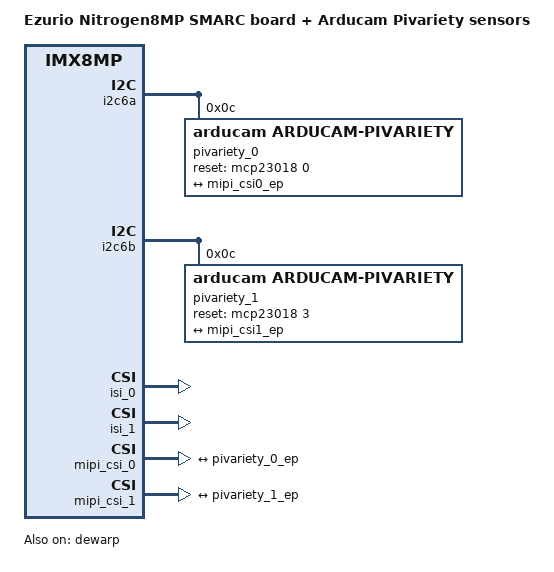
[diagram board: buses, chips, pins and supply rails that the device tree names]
// SPDX-License-Identifier: (GPL-2.0+ OR MIT)
/*
 * Copyright 2025 Ezurio LLC
 */

#include "imx8mp-nitrogen_smarc.dts"

/ {
	model = "Ezurio Nitrogen8MP SMARC board + Arducam Pivariety sensors";
	compatible = "ezurio,imx8mp-nitrogen_smarc-pivariety", "fsl,imx8mp";
};

&dewarp {
	status = "okay";
};

&i2c6a {
	/delete-node/ camera@10;

	pivariety_0: camera@c {
		compatible = "arducam,arducam-pivariety";
		reg = <0x0c>;
		clocks = <&csi_mclk>;
		clock-names = "xclk";
		reset-gpios = <&mcp23018 0 GPIO_ACTIVE_HIGH>;
		status = "okay";

		port {
			pivariety_0_ep: endpoint {
				remote-endpoint = <&mipi_csi0_ep>;
				clock-lanes = <0>;
				data-lanes = <1 2 3 4>;
			};
		};
	};
};


&i2c6b {
	/delete-node/ camera@10;

	pivariety_1: camera@c {
		compatible = "arducam,arducam-pivariety";
		reg = <0x0c>;
		clocks = <&csi_mclk>;
		clock-names = "xclk";
		reset-gpios = <&mcp23018 3 GPIO_ACTIVE_HIGH>;
		status = "okay";

		port {
			pivariety_1_ep: endpoint {
				remote-endpoint = <&mipi_csi1_ep>;
				clock-lanes = <0>;
				data-lanes = <1 2 3 4>;
				clock-noncontinuous;
				link-frequencies = /bits/ 64 <493500000>;
			};
		};
	};
};

&isi_0 {
	status = "okay";

	cap_device {
		status = "okay";
	};

	m2m_device {
		status = "okay";
	};
};

&isi_1 {
	status = "okay";

	cap_device {
		status = "okay";
	};
};

&isp_0 {
	status = "disabled";
};

&isp_1 {
	status = "disabled";
};

&mipi_csi_0 {
	#address-cells = <1>;
	#size-cells = <0>;
	status = "okay";

	port@0 {
		reg = <0>;
		mipi_csi0_ep: endpoint {
			remote-endpoint = <&pivariety_0_ep>;
			data-lanes = <4>;
			csis-hs-settle = <30>;
			csis-clk-settle = <2>;
			csis-wclk;
		};
	};
};


&mipi_csi_1 {
	#address-cells = <1>;
	#size-cells = <0>;
	status = "okay";

	port@1 {
		reg = <1>;
		mipi_csi1_ep: endpoint {
			remote-endpoint = <&pivariety_1_ep>;
			data-lanes = <4>;
			csis-hs-settle = <30>;
			csis-clk-settle = <2>;
			csis-wclk;
		};
	};
};
